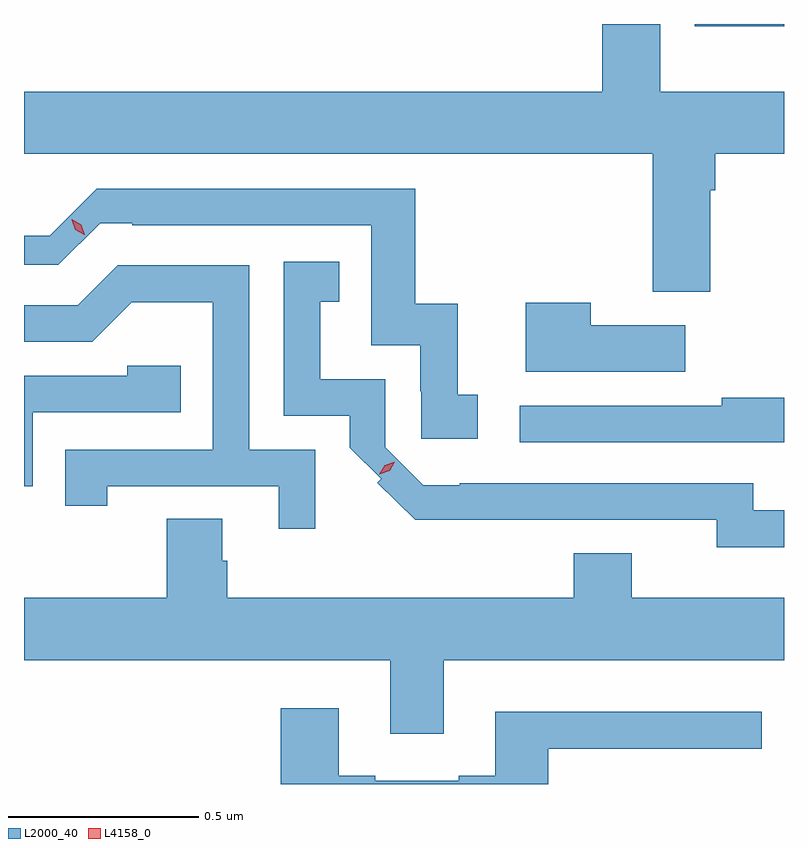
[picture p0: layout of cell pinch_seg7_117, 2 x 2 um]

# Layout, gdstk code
import gdstk
lib = gdstk.Library(unit=1e-6, precision=1e-09)
def R(c, l, rs):  # rectangles x0, y0, x1, y1
    for r in rs: c.add(gdstk.rectangle(r[:2], r[2:], *l))
def P(c, l, *ps):  # polygons
    for p in ps: c.add(gdstk.Polygon(p, *l))
L2000_40 = (2000, 40)
L4158_0 = (4158, 0)

pinch_seg7_117 = lib.new_cell('pinch_seg7_117')
R(pinch_seg7_117, L2000_40, [(923.474,1040.912,923.709,1040.918)])
P(pinch_seg7_117, L2000_40, [(923.515,1040.48),(923.528,1040.48),(923.528,1040.576),(923.709,1040.576),(923.709,1040.74),(923.383,1040.74),(923.383,1040.918),(923.231,1040.918),(923.231,1040.74),(921.709,1040.74),(921.709,1040.576),(923.363,1040.576),(923.363,1040.214),(923.515,1040.214)],
  [(922.903,1039.943),(922.85,1039.943),(922.85,1040.182),(922.739,1040.182),(922.739,1040.484),(921.9,1040.484),(921.777,1040.361),(921.709,1040.361),(921.709,1040.284),(921.799,1040.284),(921.909,1040.394),(921.994,1040.394),(921.994,1040.388),(922.623,1040.388),(922.623,1040.073),(922.752,1040.073),(922.752,1039.952),(922.755,1039.952),(922.755,1039.827),(922.903,1039.827)],
  [(923.709,1039.638),(923.628,1039.638),(923.628,1039.71),(922.856,1039.71),(922.856,1039.704),(922.759,1039.704),(922.659,1039.804),(922.659,1039.983),(922.489,1039.983),(922.489,1040.187),(922.538,1040.187),(922.538,1040.293),(922.392,1040.293),(922.392,1039.887),(922.566,1039.887),(922.566,1039.803),(922.649,1039.721),(922.639,1039.711),(922.738,1039.613),(923.072,1039.613),(923.072,1039.614),(923.532,1039.614),(923.532,1039.541),(923.709,1039.541)],
  [(922.476,1039.797),(922.302,1039.797),(922.302,1040.283),(921.956,1040.283),(921.851,1040.178),(921.709,1040.178),(921.709,1040.082),(921.888,1040.082),(921.992,1040.186),(922.206,1040.186),(922.206,1039.797),(921.817,1039.797),(921.817,1039.65),(921.928,1039.65),(921.928,1039.701),(922.379,1039.701),(922.379,1039.59),(922.476,1039.59)],
  [(923.449,1040.125),(923.201,1040.125),(923.201,1040.185),(923.03,1040.185),(923.03,1040.003),(923.449,1040.003)],
  [(921.732,1039.896),(922.121,1039.896),(922.121,1040.019),(921.981,1040.019),(921.981,1039.992),(921.709,1039.992),(921.709,1039.701),(921.732,1039.701)],
  [(923.709,1039.934),(923.545,1039.934),(923.545,1039.914),(923.013,1039.914),(923.013,1039.818),(923.709,1039.818)],
  [(922.813,1039.244),(923.709,1039.244),(923.709,1039.408),(923.308,1039.408),(923.308,1039.525),(923.156,1039.525),(923.156,1039.408),(922.244,1039.408),(922.244,1039.506),(922.231,1039.506),(922.231,1039.616),(922.084,1039.616),(922.084,1039.408),(921.709,1039.408),(921.709,1039.244),(922.673,1039.244),(922.673,1039.05),(922.813,1039.05)],
  [(923.089,1039.011),(923.65,1039.011),(923.65,1039.108),(922.949,1039.108),(922.949,1038.94),(922.853,1038.94),(922.853,1038.927),(922.633,1038.927),(922.633,1038.94),(922.537,1038.94),(922.537,1039.117),(922.385,1039.117),(922.385,1038.918),(923.089,1038.918)])
P(pinch_seg7_117, L4158_0, [(921.868,1040.364),(921.844,1040.377),(921.834,1040.403),(921.834,1040.404),(921.835,1040.404),(921.859,1040.39),(921.869,1040.364),(921.869,1040.364)],
  [(922.644,1039.733),(922.644,1039.733),(922.658,1039.757),(922.685,1039.766),(922.685,1039.766),(922.685,1039.766),(922.671,1039.742),(922.645,1039.733)])

lib.write_gds('pinch_seg7_117.gds')
